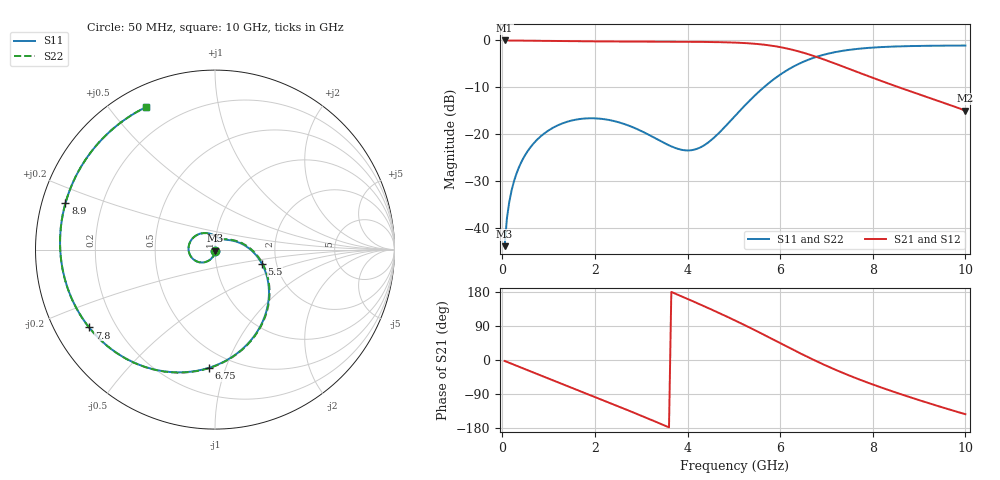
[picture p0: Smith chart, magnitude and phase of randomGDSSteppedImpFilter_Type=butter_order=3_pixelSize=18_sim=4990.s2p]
! freq	dB(S11)	phase(S11)	dB(S12)	phase(S12)
!  dB(S21)	phase(S21)	dB(S22)	phase(S22)
!S-par simulation data
#  GHz  S  DB  R 50
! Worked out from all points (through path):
!   200 points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, 50 MHz to 10 GHz, reference 50 ohm
!   highest |S21| = 0.00 dB at 50 MHz (marker M1); lowest = -15.0 dB at 10 GHz (marker M2)
!   group delay of S21, straight-line fit = 147 ps
!   lowest |S11| = -43.9 dB at 50 MHz (marker M3), VSWR 1.01, Z = 50 - j0.638 ohm
!   |S11| at or under -10 dB: start of sweep to 5.647 GHz
!   |S22| runs from -43.9 to -1.1 dB; largest |S21 - S12| = 0
!   S11 on the Smith chart (normalised r, x): 50 MHz: 1.00, -0.01; 5.5 GHz: 1.68, -0.28; 6.75 GHz: 0.38, -0.88; 7.8 GHz: 0.10, -0.28; 8.9 GHz: 0.07, +0.15; 10 GHz: 0.09, +0.63
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0.05  -43.89 -91.5  -0.00 -2.5  -0.00 -2.5  -43.89 -91.5
0.1  -37.94 -94.2  -0.01 -5.0  -0.01 -5.0  -37.94 -94.2
0.2  -32.02 -99.6  -0.02 -9.9  -0.02 -9.9  -32.02 -99.6
0.5  -24.35 -115.1  -0.05 -24.6  -0.05 -24.6  -24.35 -115.0
1.15  -18.34 -147.0  -0.13 -56.2  -0.13 -56.2  -18.34 -146.9
1.75  -16.68 -176.4  -0.19 -85.3  -0.19 -85.3  -16.68 -176.2
2.5  -17.42 146.4  -0.22 -122.0  -0.22 -122.0  -17.42 146.9
3  -19.32 121.0  -0.23 -147.0  -0.23 -147.0  -19.32 122.0
3.4  -21.38 100.0  -0.24 -167.4  -0.24 -167.4  -21.37 101.5
3.8  -23.15 78.0  -0.26 171.8  -0.26 171.8  -23.15 80.5
4.2  -23.14 55.9  -0.30 150.5  -0.30 150.5  -23.15 58.9
4.65  -20.02 31.7  -0.36 125.8  -0.36 125.8  -20.02 34.1
5.05  -15.85 9.7  -0.47 102.9  -0.47 102.9  -15.85 11.4
5.5  -11.31 -16.6  -0.75 75.9  -0.75 75.9  -11.31 -15.4
6.1  -6.65 -53.5  -1.62 38.3  -1.62 38.3  -6.65 -52.8
6.7  -3.78 -90.0  -3.23 1.7  -3.23 1.7  -3.78 -89.6
6.75  -3.61 -92.9  -3.39 -1.2  -3.39 -1.2  -3.61 -92.5
7.25  -2.38 -120.7  -5.17 -28.7  -5.17 -28.7  -2.38 -120.4
7.8  -1.68 -148.3  -7.23 -55.6  -7.23 -55.6  -1.68 -148.0
8.35  -1.34 -173.4  -9.24 -79.7  -9.24 -79.7  -1.34 -173.2
8.9  -1.19 162.7  -11.16 -102.0  -11.16 -102.0  -1.19 163.0
10  -1.09 115.6  -14.96 -143.1  -14.96 -143.1  -1.09 116.0
